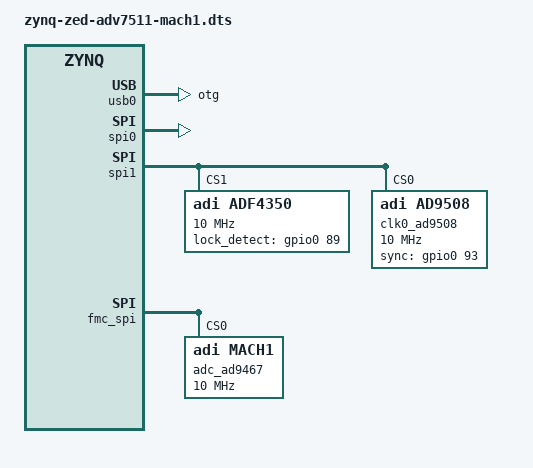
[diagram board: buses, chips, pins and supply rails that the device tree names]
// SPDX-License-Identifier: GPL-2.0
/*
 * Analog Devices AD9467
 * https://wiki.analog.com/resources/tools-software/linux-drivers/iio-adc/axi-adc-hdl
 * https://wiki.analog.com/resources/eval/ad9467-fmc-250ebz
 * https://wiki.analog.com/resources/fpga/xilinx/fmc/ad9467
 *
 * hdl_project: <ad9467_fmc/zed>
 * board_revision: <>
 *
 * Copyright (C) 2016-2019 Analog Devices Inc.
 */
/dts-v1/;

#include "zynq-zed.dtsi"
#include "zynq-zed-adv7511.dtsi"
#include <dt-bindings/iio/frequency/ad9508.h>


&usb0 {
	dr_mode = "otg";
};

&fpga_axi {
	rx_dma: rx-dmac@44a30000 {
		compatible = "adi,axi-dmac-1.00.a";
		reg = <0x44A30000 0x10000>;
		#dma-cells = <1>;
		interrupts = <0 57 IRQ_TYPE_LEVEL_HIGH>;
		clocks = <&clkc 16>;

		adi,channels {
			#size-cells = <0>;
			#address-cells = <1>;

			dma-channel@0 {
				reg = <0>;
				adi,source-bus-width = <16>;
				adi,source-bus-type = <2>;
				adi,destination-bus-width = <64>;
				adi,destination-bus-type = <0>;
			};
		};
	};

	cf_ad9467_core_0: cf-ad9467-core-lpc@44a00000 {
		compatible = "adi,axi-adc-10.0.a";
		reg = <0x44A00000 0x10000>;
		dmas = <&rx_dma 0>;
		dma-names = "rx";

		spibus-connected = <&adc_ad9467>;
	};
};

&spi0 {
	status = "okay";
};
&spi1 {
	status = "okay";
};

#define fmc_spi spi0

/ {
	adf4350_clkin: adf4350_clkin {
		compatible = "fixed-clock";
		#clock-cells = <0>;
		clock-frequency = <25000000>;
	};

	adf4350_clkout: adf4350_clkout {
		compatible = "fixed-clock";
		#clock-cells = <0>;
		clock-frequency = <400000000>;
	};
};

&fmc_spi {
	adc_ad9467: ad9467@0 {
		compatible = "adi,mach1";
		reg = <0>;

		spi-max-frequency = <10000000>;

		clocks = <&clk0_ad9508 2>;
		clock-names = "adc_clk";

		num_lanes = <1>;
	};

};

&spi1 {
	adf4350: adf4350@1 {
		#address-cells = <1>;
		#size-cells = <0>;
		compatible = "adi,adf4350";
		reg = <1>;
		spi-max-frequency = <10000000>;
		clocks = <&adf4350_clkin>;
		clock-names = "clkin";
		adi,reference-div-factor = <1>;
		adi,channel-spacing = <100000>;
		adi,lock-detect-function-integer-n-enable;
		adi,anti-backlash-3ns-enable;
		adi,muxout-select = <6>;
		adi,power-up-frequency = <400000000>;
		adi,phase-detector-polarity-positive-enable;
		adi,charge-pump-current = <5000>;
		adi,output-power = <1>;
		lock_detect-gpios = <&gpio0 89 0>;
//		adi,aux-output-fundamental-enable;
	};

	clk0_ad9508: ad9508@0 {
		#address-cells = <1>;
		#size-cells = <0>;
		#clock-cells = <1>;
		compatible = "adi,ad9508";
		reg = <0>;
		spi-cpol;
		spi-cpha;

		clocks = <&adf4350_clkout>;

		spi-max-frequency = <10000000>;
		clock-output-names = "ad9508-1_out0", "ad9508-1_out1", "ad9508-1_out2", "ad9508-1_out3";
		sync-gpios = <&gpio0 93 0>;


		ad9508_0_c0:channel@0 {
			reg = <0>;
			adi,extended-name = "FPGA_CLK";
			adi,driver-mode = <(DRIVER_MODE_HIGHZ_CMOS)>;
			adi,divider-phase = <0>;
			adi,channel-divider = <4>;  // Unused
		};

		ad9508_0_c1:channel@1 {
			reg = <1>;
			adi,extended-name = "CLK10M";
			adi,driver-mode = <(DRIVER_PHASE_NORMAL | DRIVER_MODE_LVDS_1_00)>;
			adi,divider-phase = <0>;
			adi,channel-divider = <40>;
		};

		ad9508_0_c2:channel@2 {
			reg = <2>;
			adi,extended-name = "CNV";
			adi,driver-mode = <(DRIVER_PHASE_NORMAL | DRIVER_MODE_HIGHZ_CMOS | DRIVER_CMOS_P_ENABLE | DRIVER_PHASE_CMOS_P_NORMAL | DRIVER_CMOS_N_ENABLE | DRIVER_PHASE_CMOS_N_FORCE_LOW)>;
			//adi,driver-mode = <(DRIVER_PHASE_NORMAL | DRIVER_MODE_LVDS_1_25)>;
			adi,divider-phase = <0>;
			//adi,channel-divider = <20>;
			adi,channel-divider = <40>;
			//adi,channel-divider = <80>;
			//adi,channel-divider = <160>;
		};

		ad9508_0_c3:channel@3 {
			reg = <3>;
			adi,extended-name = "MACH1_CLK";
			adi,driver-mode = <(DRIVER_PHASE_NORMAL | DRIVER_MODE_LVDS_1_25)>;
			adi,divider-phase = <0>;
			adi,channel-divider = <2>;
			//adi,channel-divider = <4>;
			//adi,channel-divider = <8>;
		};

	};
};
